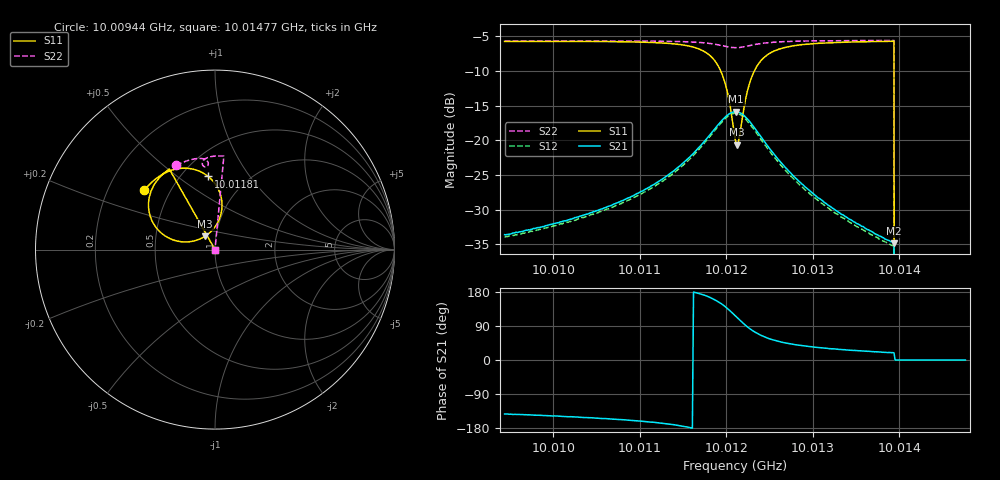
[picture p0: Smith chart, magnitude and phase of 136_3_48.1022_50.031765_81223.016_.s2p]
#  HZ  S  RI  R  50.00
! Rohde & Schwarz Vector Network Analyzer
! Rohde-Schwarz,ZNB20-2Port,1311601062101988,3.16
! Created: UTC 12/23/2023, 3:48:17 AM
! freq[Hz]  re:S11  im:S11  re:S21  im:S21  re:S12  im:S12  re:S22  im:S22
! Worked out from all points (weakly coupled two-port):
!   401 points, 10.00944 GHz to 10.01477 GHz, reference 50 ohm
!   highest |S21| = -15.89 dB at 10.01211 GHz (marker M1); lowest = -34.8 dB at 10.01394 GHz (marker M2)
!   lowest |S11| = -20.6 dB at 10.01213 GHz (marker M3), VSWR 1.20, Z = 44.3 + j6.68 ohm
!   |S11| at or under -10 dB: 10.01194 GHz to 10.01233 GHz (390.8 kHz wide, 0.0039 % of centre); 10.01394 GHz to end of sweep
!   |S22| runs from - to -5.6 dB; largest |S21 - S12| = 0.0081
!   S11 on the Smith chart (normalised r, x): 10.00944 GHz: 0.36, +0.32; 10.01181 GHz: 0.67, +0.66; 10.01477 GHz: 1.00, +0.00
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1.0009437e10  -0.3943 0.331  -0.0166 -0.0127  -0.0152 -0.013  -0.2155 0.4709
1.0010329e10  -0.3392 0.3868  -0.0251 -0.0137  -0.0237 -0.0144  -0.1601 0.4934
1.0011222e10  -0.2383 0.4433  -0.0491 -0.0125  -0.0467 -0.0143  -0.0976 0.5074
1.0011608e10  -0.1348 0.4507  -0.079 -0.000361  -0.0764 -0.00442  -0.0643 0.5058
1.0011808e10  -0.0377 0.4075  -0.1054 0.0273  -0.1036 0.021  -0.0452 0.4958
1.0011901e10  0.013 0.3473  -0.1155 0.0554  -0.1152 0.0479  -0.0385 0.4858
1.0011981e10  0.0387 0.2616  -0.1149 0.0891  -0.1158 0.0819  -0.0376 0.4745
1.0012035e10  0.0306 0.1883  -0.103 0.1158  -0.1055 0.1084  -0.041 0.467
1.0012101e10  -0.0216 0.1014  -0.0736 0.1426  -0.0777 0.1357  -0.0501 0.4614
1.0012114e10  -0.0376 0.0873  -0.0663 0.1462  -0.0702 0.1395  -0.0524 0.4611
1.0012128e10  -0.0551 0.0747  -0.0584 0.149  -0.0628 0.1426  -0.0547 0.4611
1.0012154e10  -0.0927 0.0558  -0.0428 0.1522  -0.0465 0.1464  -0.0589 0.4619
1.0012221e10  -0.1897 0.0439  -0.00482 0.1473  -0.00947 0.1421  -0.0675 0.4685
1.0012261e10  -0.2401 0.0565  0.0133 0.1381  0.00788 0.1333  -0.07 0.4741
1.0012381e10  -0.3355 0.133  0.0421 0.1019  0.0368 0.0991  -0.0682 0.4905
1.0012594e10  -0.3706 0.2542  0.0475 0.0563  0.0431 0.0555  -0.0516 0.5077
1.0012994e10  -0.3388 0.3615  0.0344 0.0238  0.0315 0.0242  -0.0182 0.5186
1.0013886e10  -0.2591 0.446  0.0178 0.00643  0.0165 0.00692  0.0459 0.521
1.0013913e10  -0.2567 0.4475  0.0175 0.00613  0.0161 0.00669  0.0475 0.5209
1.001394e10  -0.2546 0.449  0.0172 0.00589  0.0159 0.00662  0.0495 0.5208
1.001398e10  0 0  0 0  0 0  0 0
1.0014766e10  0 0  0 0  0 0  0 0
